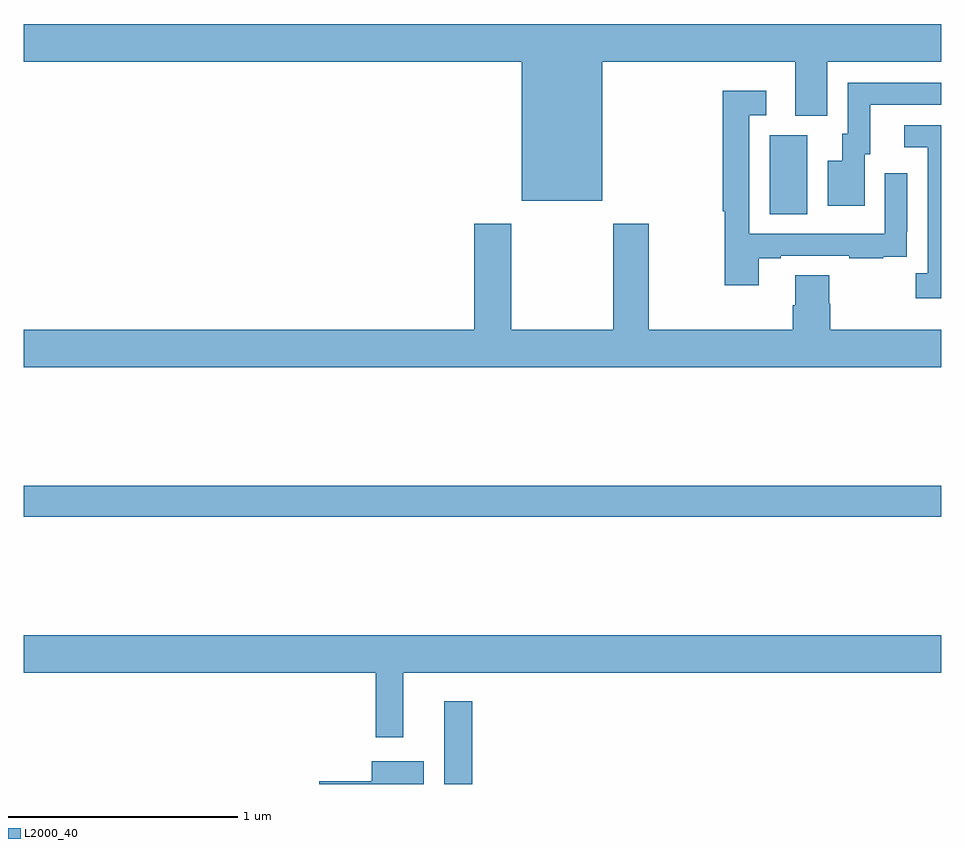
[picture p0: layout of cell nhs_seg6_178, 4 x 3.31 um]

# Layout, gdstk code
import gdstk
lib = gdstk.Library(unit=1e-6, precision=1e-09)
def R(c, l, rs):  # rectangles x0, y0, x1, y1
    for r in rs: c.add(gdstk.rectangle(r[:2], r[2:], *l))
def P(c, l, *ps):  # polygons
    for p in ps: c.add(gdstk.Polygon(p, *l))
L2000_40 = (2000, 40)

nhs_seg6_178 = lib.new_cell('nhs_seg6_178')
R(nhs_seg6_178, L2000_40, [(120.833,965.5,120.955,965.86), (119,966.664,123,966.8), (122.252,967.984,122.416,968.328)])
P(nhs_seg6_178, L2000_40, [(121.522,968.648),(122.363,968.648),(122.363,968.413),(122.503,968.413),(122.503,968.648),(123,968.648),(123,968.812),(119,968.812),(119,968.648),(121.172,968.648),(121.172,968.042),(121.522,968.042)],
  [(122.665,968.244),(122.689,968.244),(122.689,968.46),(123,968.46),(123,968.556),(122.592,968.556),(122.592,968.334),(122.567,968.334),(122.567,968.215),(122.504,968.215),(122.504,968.019),(122.665,968.019)],
  [(122.203,967.791),(122.299,967.791),(122.299,967.803),(122.599,967.803),(122.599,967.791),(122.747,967.791),(122.747,967.797),(122.849,967.797),(122.849,967.906),(122.85,967.906),(122.85,968.161),(122.754,968.161),(122.754,967.899),(122.163,967.899),(122.163,968.415),(122.236,968.415),(122.236,968.521),(122.047,968.521),(122.047,967.996),(122.055,967.996),(122.055,967.674),(122.203,967.674)],
  [(123,968.37),(122.838,968.37),(122.838,968.274),(122.94,968.274),(122.94,967.726),(122.889,967.726),(122.889,967.616),(123,967.616)],
  [(123,967.48),(122.516,967.48),(122.516,967.593),(122.511,967.593),(122.511,967.718),(122.363,967.718),(122.363,967.586),(122.351,967.586),(122.351,967.48),(121.725,967.48),(121.725,967.942),(121.57,967.942),(121.57,967.48),(121.125,967.48),(121.125,967.942),(120.965,967.942),(120.965,967.48),(119,967.48),(119,967.316),(123,967.316)],
  [(120.655,965.984),(123,965.984),(123,966.148),(119,966.148),(119,965.984),(120.534,965.984),(120.534,965.703),(120.655,965.703)],
  [(120.745,965.599),(120.518,965.599),(120.518,965.511),(120.288,965.511),(120.288,965.5),(120.745,965.5)])

lib.write_gds('nhs_seg6_178.gds')
